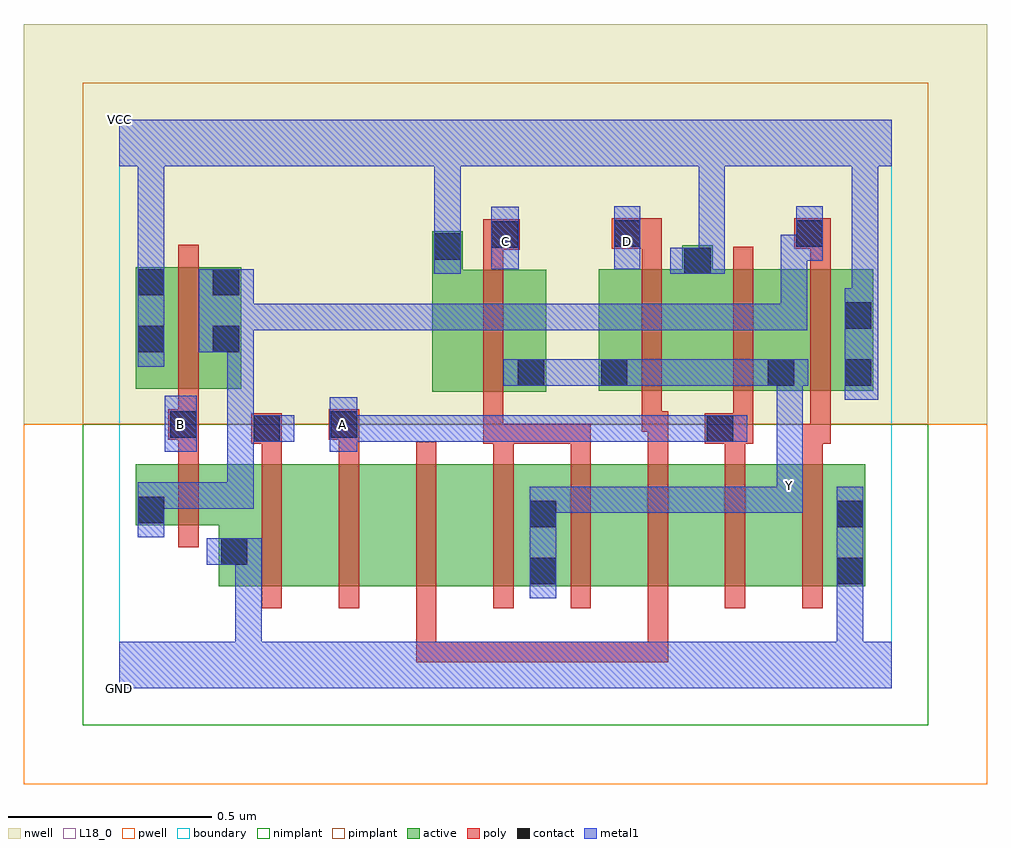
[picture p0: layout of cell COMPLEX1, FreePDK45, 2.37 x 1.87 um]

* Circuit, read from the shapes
.subckt COMPLEX1 A B C D GND VCC Y
M1 GND B n1 VSUBS nfet w=0.15u l=0.05u
M2 n2 n1 GND VSUBS nfet w=0.3u l=0.05u
M3 n3 A n2 VSUBS nfet w=0.3u l=0.05u
M4 n4 D n3 VSUBS nfet w=0.3u l=0.05u
M5 Y C n4 VSUBS nfet w=0.3u l=0.05u
M6 n5 C Y VSUBS nfet w=0.3u l=0.05u
M7 n6 D n5 VSUBS nfet w=0.3u l=0.05u
M8 n7 A n6 VSUBS nfet w=0.3u l=0.05u
M9 GND n1 n7 VSUBS nfet w=0.3u l=0.05u
M10 n1 B VCC n8 pfet w=0.3u l=0.05u
M11 Y C VCC n8 pfet w=0.3u l=0.05u
M12 VCC D Y n8 pfet w=0.3u l=0.05u
M13 Y A VCC n8 pfet w=0.3u l=0.05u
M14 VCC n1 Y n8 pfet w=0.3u l=0.05u
.ends

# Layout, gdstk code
import gdstk
lib = gdstk.Library(unit=1e-6, precision=1e-09)
def R(c, l, rs):  # rectangles x0, y0, x1, y1
    for r in rs: c.add(gdstk.rectangle(r[:2], r[2:], *l))
def A(c, l, x, y, w, h, nx, ny, dx, dy):  # array of equal rectangles
    R(c, l, [(x+i*dx, y+j*dy, x+i*dx+w, y+j*dy+h) for i in range(nx) for j in range(ny)])
active = (1, 0)
pwell = (2, 0)
nwell = (3, 0)
nimplant = (4, 0)
pimplant = (5, 0)
poly = (9, 0)
contact = (10, 0)
metal1 = (11, 0)
L18_0 = (18, 0)
boundary = (235, 0)

complex1 = lib.new_cell('COMPLEX1')
R(complex1, active, [(0.245,0.252,0.32,0.552), (0.245,0.252,0.47,0.552), (0.47,0.252,0.66,0.552), (0.66,0.252,0.85,0.552), (0.85,0.252,1.08,0.552), (1.005,0.252,1.23,0.552), (1.005,0.252,1.08,0.517), (1.23,0.252,1.42,0.552), (1.42,0.252,1.61,0.552), (1.61,0.252,1.835,0.552), (1.76,0.252,1.835,0.552), (0.04,0.402,0.32,0.552), (0.04,0.402,0.115,0.552), (0.77,0.73,1.05,1.03), (0.77,0.73,0.845,1.125), (1.18,0.732,1.46,1.032), (1.385,0.732,1.665,1.032), (1.59,0.732,1.855,1.032), (1.78,0.732,1.855,1.005), (0.04,0.737,0.115,1.037), (0.04,0.737,0.3,1.037), (0.225,0.737,0.3,1.037), (0.975,0.74,1.05,0.927), (1.18,0.74,1.255,0.927), (1.59,0.74,1.665,1.005), (1.385,0.867,1.46,1.09)])
R(complex1, pwell, [(-0.235,-0.235,2.135,0.65)])
R(complex1, nwell, [(-0.235,0.65,2.135,1.635)])
R(complex1, nimplant, [(-0.09,-0.09,1.99,0.65)])
R(complex1, pimplant, [(-0.09,0.65,1.99,1.49)])
A(complex1, poly, 0.35, 0.197, 0.05, 0.41, 8, 1, 0.19, 0)
R(complex1, poly, [(0.73,0.065,0.78,0.247), (0.73,0.065,0.78,0.115), (0.73,0.065,0.78,0.115), (0.73,0.065,0.78,0.115), (0.73,0.065,0.97,0.115), (0.92,0.065,0.97,0.115), (0.92,0.065,0.97,0.115), (0.92,0.065,0.97,0.115), (0.92,0.065,1.102,0.115), (1.052,0.065,1.35,0.115), (1.052,0.065,1.102,0.115), (1.052,0.065,1.102,0.115), (1.052,0.065,1.102,0.115), (1.3,0.065,1.35,0.247), (1.3,0.065,1.35,0.115), (0.145,0.347,0.195,0.607), (0.145,0.557,0.195,0.662), (0.35,0.557,0.4,0.652), (0.54,0.557,0.59,0.662), (0.92,0.557,0.97,0.652), (1.11,0.557,1.16,0.652), (1.3,0.557,1.35,0.682), (1.49,0.557,1.54,0.652), (1.68,0.557,1.73,0.652), (0.325,0.602,0.4,0.677), (0.895,0.602,0.945,0.725), (0.895,0.602,0.97,0.652), (0.92,0.602,0.97,0.652), (0.92,0.602,0.97,0.652), (0.92,0.602,1.16,0.652), (1.11,0.602,1.16,0.652), (1.44,0.602,1.56,0.677), (1.68,0.602,1.75,0.652), (1.7,0.602,1.75,0.727), (0.12,0.612,0.195,0.687), (0.515,0.612,0.59,0.687), (1.51,0.627,1.56,0.727), (1.285,0.632,1.335,0.727), (1.285,0.632,1.35,0.682), (0.145,0.637,0.195,0.732), (0.895,0.675,0.945,1.085), (1.285,0.677,1.335,1.087), (1.51,0.677,1.56,1.087), (1.7,0.677,1.75,1.087), (0.145,0.682,0.195,1.092), (0.895,1.035,0.945,1.13), (1.285,1.037,1.335,1.132), (1.7,1.037,1.75,1.132), (0.895,1.08,0.985,1.155), (1.212,1.082,1.335,1.157), (1.66,1.082,1.75,1.157)])
R(complex1, contact, [(1.01,0.257,1.075,0.322), (1.765,0.257,1.83,0.322), (0.25,0.305,0.315,0.37), (1.01,0.397,1.075,0.462), (1.765,0.397,1.83,0.462), (0.045,0.407,0.11,0.472), (0.33,0.607,0.395,0.672), (1.445,0.607,1.51,0.672), (0.125,0.617,0.19,0.682), (0.52,0.617,0.585,0.682), (0.98,0.745,1.045,0.81), (1.185,0.745,1.25,0.81), (1.595,0.745,1.66,0.81), (1.785,0.745,1.85,0.81), (0.045,0.827,0.11,0.892), (0.23,0.827,0.295,0.892), (1.785,0.885,1.85,0.95), (0.045,0.967,0.11,1.032), (0.23,0.967,0.295,1.032), (1.39,1.02,1.455,1.085), (0.775,1.055,0.84,1.12), (0.915,1.085,0.98,1.15), (1.217,1.087,1.282,1.152), (1.665,1.087,1.73,1.152)])
R(complex1, metal1, [(0,0,1.9,0.115), (0.285,0.05,0.35,0.37), (1.765,0.05,1.83,0.115), (1.765,0.05,1.83,0.115), (1.765,0.05,1.83,0.115), (1.765,0.05,1.83,0.115), (1.765,0.05,1.83,0.287), (1.01,0.222,1.075,0.497), (1.765,0.222,1.83,0.497), (0.215,0.305,0.35,0.37), (0.285,0.305,0.35,0.37), (0.285,0.305,0.35,0.37), (0.285,0.305,0.35,0.37), (0.285,0.305,0.35,0.37), (0.045,0.372,0.11,0.507), (1.01,0.432,1.075,0.497), (1.01,0.432,1.075,0.497), (1.01,0.432,1.282,0.497), (1.217,0.432,1.282,0.497), (1.217,0.432,1.282,0.497), (1.217,0.432,1.282,0.497), (1.217,0.432,1.422,0.497), (1.357,0.432,1.422,0.497), (1.357,0.432,1.422,0.497), (1.357,0.432,1.422,0.497), (1.357,0.432,1.682,0.497), (1.617,0.432,1.682,0.497), (1.617,0.432,1.682,0.497), (1.617,0.432,1.682,0.567), (0.045,0.442,0.11,0.507), (0.045,0.442,0.11,0.507), (0.045,0.442,0.33,0.507), (0.265,0.442,0.33,0.507), (0.265,0.442,0.33,0.672), (1.617,0.502,1.682,0.81), (0.112,0.582,0.19,0.72), (0.517,0.582,0.585,0.717), (0.265,0.607,0.33,0.672), (0.265,0.607,0.36,0.672), (0.265,0.607,0.33,0.892), (0.295,0.607,0.43,0.672), (0.52,0.607,0.605,0.672), (0.54,0.607,0.605,0.672), (0.54,0.607,0.742,0.672), (0.677,0.607,0.742,0.672), (0.677,0.607,0.742,0.672), (0.677,0.607,0.742,0.672), (0.677,0.607,0.91,0.672), (0.845,0.607,0.91,0.672), (0.845,0.607,1.047,0.672), (0.982,0.607,1.047,0.672), (0.982,0.607,1.047,0.672), (0.982,0.607,1.047,0.672), (0.982,0.607,1.282,0.672), (1.217,0.607,1.282,0.672), (1.217,0.607,1.282,0.672), (1.217,0.607,1.282,0.672), (1.217,0.607,1.475,0.672), (1.41,0.607,1.475,0.672), (1.41,0.607,1.475,0.672), (1.41,0.607,1.545,0.672), (1.785,0.71,1.867,0.985), (0.945,0.745,1.08,0.81), (1.015,0.745,1.08,0.81), (1.015,0.745,1.08,0.81), (1.015,0.745,1.215,0.81), (1.15,0.745,1.285,0.81), (1.22,0.745,1.285,0.81), (1.22,0.745,1.285,0.81), (1.22,0.745,1.422,0.81), (1.357,0.745,1.422,0.81), (1.357,0.745,1.422,0.81), (1.357,0.745,1.422,0.81), (1.357,0.745,1.625,0.81), (1.56,0.745,1.695,0.81), (0.045,0.792,0.11,1.067), (0.195,0.827,0.33,1.032), (0.265,0.882,0.33,0.947), (0.265,0.882,0.33,0.947), (0.265,0.882,0.467,0.947), (0.402,0.882,0.467,0.947), (0.402,0.882,0.467,0.947), (0.402,0.882,0.467,0.947), (0.402,0.882,0.605,0.947), (0.54,0.882,0.605,0.947), (0.54,0.882,0.772,0.947), (0.707,0.882,0.772,0.947), (0.707,0.882,0.772,0.947), (0.707,0.882,0.772,0.947), (0.707,0.882,0.772,0.947), (0.707,0.882,0.772,0.947), (0.707,0.882,0.91,0.947), (0.845,0.882,0.91,0.947), (0.845,0.882,1.07,0.947), (1.005,0.882,1.07,0.947), (1.005,0.882,1.07,0.947), (1.005,0.882,1.07,0.947), (1.005,0.882,1.217,0.947), (1.152,0.882,1.217,0.947), (1.152,0.882,1.217,0.947), (1.152,0.882,1.217,0.947), (1.152,0.882,1.487,0.947), (1.422,0.882,1.487,0.947), (1.422,0.882,1.487,0.947), (1.422,0.882,1.487,0.947), (1.422,0.882,1.692,0.947), (1.627,0.882,1.692,0.947), (1.627,0.882,1.692,1.117), (1.802,0.92,1.867,0.985), (1.802,0.92,1.867,0.985), (1.802,0.92,1.867,0.985), (1.802,0.92,1.867,0.985), (1.802,0.92,1.867,1.35), (0.045,1.002,0.11,1.067), (0.045,1.002,0.11,1.067), (0.045,1.002,0.11,1.35), (0.775,1.02,0.84,1.155), (1.355,1.02,1.49,1.085), (1.425,1.02,1.49,1.085), (1.425,1.02,1.49,1.085), (1.425,1.02,1.49,1.085), (1.425,1.02,1.49,1.085), (1.425,1.02,1.49,1.35), (0.915,1.032,0.982,1.185), (1.217,1.032,1.282,1.187), (1.627,1.052,1.692,1.117), (1.627,1.052,1.692,1.117), (1.627,1.052,1.692,1.117), (1.627,1.052,1.73,1.117), (1.665,1.052,1.73,1.187), (0.775,1.09,0.84,1.35), (0,1.285,1.9,1.4), (0.045,1.285,0.11,1.35), (0.045,1.285,0.11,1.35), (0.775,1.285,0.84,1.35), (0.775,1.285,0.84,1.35), (0.775,1.285,0.84,1.35), (0.775,1.285,0.84,1.35)])
R(complex1, L18_0, [(0,0,1.9,0.115), (0.285,0.05,0.35,0.37), (1.765,0.05,1.83,0.115), (1.765,0.05,1.83,0.115), (1.765,0.05,1.83,0.115), (1.765,0.05,1.83,0.115), (1.765,0.05,1.83,0.287), (1.01,0.222,1.075,0.497), (1.765,0.222,1.83,0.497), (0.215,0.305,0.35,0.37), (0.285,0.305,0.35,0.37), (0.285,0.305,0.35,0.37), (0.285,0.305,0.35,0.37), (0.285,0.305,0.35,0.37), (1.01,0.432,1.075,0.497), (1.01,0.432,1.075,0.497), (1.01,0.432,1.282,0.497), (1.217,0.432,1.282,0.497), (1.217,0.432,1.282,0.497), (1.217,0.432,1.282,0.497), (1.217,0.432,1.422,0.497), (1.357,0.432,1.422,0.497), (1.357,0.432,1.422,0.497), (1.357,0.432,1.422,0.497), (1.357,0.432,1.682,0.497), (1.617,0.432,1.682,0.497), (1.617,0.432,1.682,0.497), (1.617,0.432,1.682,0.567), (1.617,0.467,1.682,0.532), (1.617,0.502,1.682,0.81), (0.112,0.582,0.19,0.72), (0.517,0.582,0.585,0.717), (0.52,0.607,0.605,0.672), (0.54,0.607,0.605,0.672), (0.54,0.607,0.742,0.672), (0.677,0.607,0.742,0.672), (0.677,0.607,0.742,0.672), (0.677,0.607,0.742,0.672), (0.677,0.607,0.91,0.672), (0.845,0.607,0.91,0.672), (0.845,0.607,1.047,0.672), (0.982,0.607,1.047,0.672), (0.982,0.607,1.047,0.672), (0.982,0.607,1.047,0.672), (0.982,0.607,1.282,0.672), (1.217,0.607,1.282,0.672), (1.217,0.607,1.282,0.672), (1.217,0.607,1.282,0.672), (1.217,0.607,1.475,0.672), (1.41,0.607,1.475,0.672), (1.41,0.607,1.475,0.672), (1.41,0.607,1.545,0.672), (0.117,0.617,0.182,0.682), (0.517,0.617,0.582,0.682), (1.785,0.71,1.867,0.985), (0.945,0.745,1.08,0.81), (1.015,0.745,1.08,0.81), (1.015,0.745,1.08,0.81), (1.015,0.745,1.215,0.81), (1.15,0.745,1.285,0.81), (1.22,0.745,1.285,0.81), (1.22,0.745,1.285,0.81), (1.22,0.745,1.422,0.81), (1.357,0.745,1.422,0.81), (1.357,0.745,1.422,0.81), (1.357,0.745,1.422,0.81), (1.357,0.745,1.625,0.81), (1.56,0.745,1.695,0.81), (0.045,0.792,0.11,1.067), (1.802,0.92,1.867,0.985), (1.802,0.92,1.867,0.985), (1.802,0.92,1.867,0.985), (1.802,0.92,1.867,0.985), (1.802,0.92,1.867,1.35), (0.045,1.002,0.11,1.067), (0.045,1.002,0.11,1.067), (0.045,1.002,0.11,1.35), (0.775,1.02,0.84,1.155), (1.355,1.02,1.49,1.085), (1.425,1.02,1.49,1.085), (1.425,1.02,1.49,1.085), (1.425,1.02,1.49,1.085), (1.425,1.02,1.49,1.085), (1.425,1.02,1.49,1.35), (0.915,1.032,0.982,1.185), (1.217,1.032,1.282,1.187), (0.917,1.067,0.982,1.132), (1.217,1.067,1.282,1.132), (0.775,1.09,0.84,1.35), (0,1.285,1.9,1.4), (0.045,1.285,0.11,1.35), (0.045,1.285,0.11,1.35), (0.775,1.285,0.84,1.35), (0.775,1.285,0.84,1.35), (0.775,1.285,0.84,1.35), (0.775,1.285,0.84,1.35)])
R(complex1, boundary, [(0,0,1.9,1.4)])
complex1.add(gdstk.Label('A', (0.55,0.65), layer=11, texttype=0))
complex1.add(gdstk.Label('B', (0.15,0.65), layer=11, texttype=0))
complex1.add(gdstk.Label('C', (0.95,1.1), layer=11, texttype=0))
complex1.add(gdstk.Label('D', (1.25,1.1), layer=11, texttype=0))
complex1.add(gdstk.Label('Y', (1.65,0.5), layer=11, texttype=0))
complex1.add(gdstk.Label('VCC', (0,1.4), layer=11, texttype=0))
complex1.add(gdstk.Label('GND', (0,0), layer=11, texttype=0))

lib.write_gds('COMPLEX1.gds')
